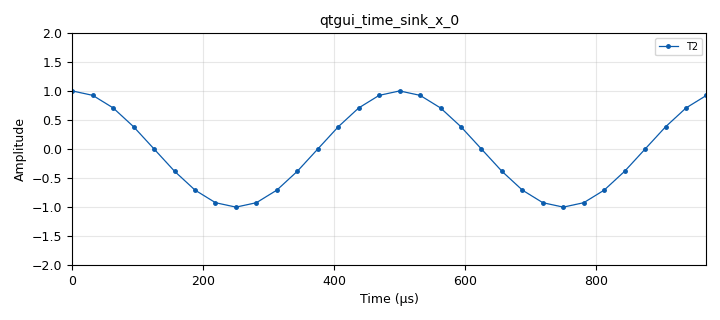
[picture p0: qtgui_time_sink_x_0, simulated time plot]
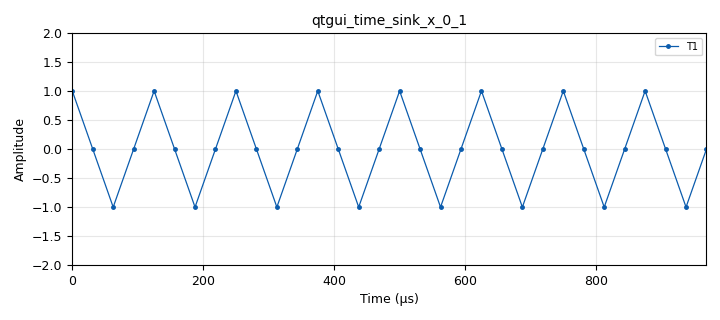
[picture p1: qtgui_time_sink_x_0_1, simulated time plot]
<?xml version='1.0' encoding='utf-8'?>
<?grc format='1' created='3.7.13'?>
<flow_graph>
<block>
<key>options</key>
<param><key>id</key><value>top_block</value></param>
<param><key>generate_options</key><value>qt_gui</value></param>
<param><key>run</key><value>run_stop</value></param>
</block>
<block>
<key>variable_qtgui_range</key>
<param><key>id</key><value>Del</value></param>
<param><key>value</key><value>0</value></param>
<param><key>gui_hint</key><value>0,2,1,1</value></param>
<param><key>label</key><value>Retardo</value></param>
<param><key>orient</key><value>Qt.Horizontal</value></param>
<param><key>start</key><value>0</value></param>
<param><key>step</key><value>1</value></param>
<param><key>stop</key><value>20000</value></param>
<param><key>rangeType</key><value>int</value></param>
</block>
<block>
<key>variable</key>
<param><key>id</key><value>Kd</value></param>
<param><key>value</key><value>12</value></param>
</block>
<block>
<key>variable_qtgui_range</key>
<param><key>id</key><value>Vol</value></param>
<param><key>value</key><value>1.</value></param>
<param><key>gui_hint</key><value>0,1,1,1</value></param>
<param><key>label</key><value>Volumen</value></param>
<param><key>orient</key><value>Qt.Horizontal</value></param>
<param><key>start</key><value>0</value></param>
<param><key>step</key><value>10/100.</value></param>
<param><key>stop</key><value>10.</value></param>
</block>
<block>
<key>variable</key>
<param><key>id</key><value>f</value></param>
<param><key>value</key><value>2000</value></param>
</block>
<block>
<key>variable</key>
<param><key>id</key><value>f_nyq</value></param>
<param><key>value</key><value>f*2</value></param>
</block>
<block>
<key>variable_qtgui_check_box</key>
<param><key>id</key><value>run_stop</value></param>
<param><key>value</key><value>True</value></param>
<param><key>false</key><value>False</value></param>
<param><key>gui_hint</key><value>0,0</value></param>
<param><key>label</key><value>Inicial/Parar</value></param>
<param><key>true</key><value>True</value></param>
<param><key>type</key><value>int</value></param>
</block>
<block>
<key>variable</key>
<param><key>id</key><value>samp_rate</value></param>
<param><key>value</key><value>32000</value></param>
</block>
<block>
<key>variable</key>
<param><key>id</key><value>samp_rate_d</value></param>
<param><key>value</key><value>float(samp_rate)/Kd</value></param>
</block>
<block>
<key>analog_sig_source_x</key>
<param><key>id</key><value>analog_sig_source_x_0</value></param>
<param><key>amp</key><value>1</value></param>
<param><key>freq</key><value>f</value></param>
<param><key>offset</key><value>0</value></param>
<param><key>type</key><value>float</value></param>
<param><key>samp_rate</key><value>samp_rate</value></param>
<param><key>waveform</key><value>analog.GR_COS_WAVE</value></param>
</block>
<block>
<key>b_PSD</key>
<param><key>id</key><value>b_PSD_0</value></param>
<param><key>samp_rate_audio</key><value>float(samp_rate)</value></param>
<param><key>gui_hint</key><value>menu@1:1,0,1,1</value></param>
<param><key>N</key><value>1024</value></param>
<param><key>Ensayos</key><value>1000000</value></param>
<param><key>Titulo</key><value>'T2'</value></param>
<param><key>Ymax</key><value>5e-6</value></param>
</block>
<block>
<key>b_PSD</key>
<param><key>id</key><value>b_PSD_0_0</value></param>
<param><key>samp_rate_audio</key><value>samp_rate_d</value></param>
<param><key>gui_hint</key><value>menu@1:2,0,1,1</value></param>
<param><key>N</key><value>1024</value></param>
<param><key>Ensayos</key><value>1000000</value></param>
<param><key>Titulo</key><value>'T1'</value></param>
<param><key>Ymax</key><value>5e-6</value></param>
</block>
<block>
<key>blocks_delay</key>
<param><key>id</key><value>blocks_delay_0</value></param>
<param><key>delay</key><value>Del</value></param>
<param><key>type</key><value>float</value></param>
</block>
<block>
<key>epy_block</key>
<param><key>id</key><value>epy_block_0_0</value></param>
<param><key>_source_code</key><value>import numpy as np
from gnuradio import gr

class decimator(gr.decim_block):
    """Elimins paso-1 muestras, de manera que solo quedan vigentes las muestras separadas en paso muestras"""
    def __init__(self, paso=2):
        gr.decim_block.__init__(self,
            name="e_diezmad_ff",
            in_sig=[np.float32],
            out_sig=[np.float32], decim=paso)

        # variables externas
	self.paso = paso
	
    def work(self, input_items, output_items):
        # traduccion a algo que podemos manejar mejor
        in0 = input_items[0]
        out0 = output_items[0]
        # Logica principal
	out0[:] = in0[::self.paso]
        return len(output_items[0])

</value></param>
<param><key>paso</key><value>Kd</value></param>
</block>
<block>
<key>qtgui_tab_widget</key>
<param><key>id</key><value>menu</value></param>
<param><key>gui_hint</key><value>1,0,1,3</value></param>
<param><key>label0</key><value>tiempo</value></param>
<param><key>label1</key><value>frecuencia</value></param>
<param><key>num_tabs</key><value>2</value></param>
</block>
<block>
<key>qtgui_time_sink_x</key>
<param><key>id</key><value>qtgui_time_sink_x_0</value></param>
<param><key>gui_hint</key><value>menu@0:2,0,1,2</value></param>
<param><key>color1</key><value>"blue"</value></param>
<param><key>label1</key><value>T2</value></param>
<param><key>marker1</key><value>0</value></param>
<param><key>width1</key><value>3</value></param>
<param><key>size</key><value>1024/32</value></param>
<param><key>srate</key><value>samp_rate</value></param>
<param><key>type</key><value>float</value></param>
<param><key>ymax</key><value>2</value></param>
<param><key>ymin</key><value>-2</value></param>
</block>
<block>
<key>qtgui_time_sink_x</key>
<param><key>id</key><value>qtgui_time_sink_x_0_1</value></param>
<param><key>gui_hint</key><value>menu@0:3,0,1,2</value></param>
<param><key>color1</key><value>"blue"</value></param>
<param><key>label1</key><value>T1</value></param>
<param><key>marker1</key><value>0</value></param>
<param><key>width1</key><value>3</value></param>
<param><key>size</key><value>1024/32</value></param>
<param><key>srate</key><value>samp_rate</value></param>
<param><key>type</key><value>float</value></param>
<param><key>ymax</key><value>2</value></param>
<param><key>ymin</key><value>-2</value></param>
</block>
<block>
<key>virtual_sink</key>
<param><key>id</key><value>virtual_sink_0_1_0_0</value></param>
<param><key>stream_id</key><value>T2</value></param>
</block>
<block>
<key>virtual_sink</key>
<param><key>id</key><value>virtual_sink_0_1_0_0_0</value></param>
<param><key>stream_id</key><value>T1</value></param>
</block>
<block>
<key>virtual_source</key>
<param><key>id</key><value>virtual_source_0</value></param>
<param><key>stream_id</key><value>T2</value></param>
</block>
<block>
<key>virtual_source</key>
<param><key>id</key><value>virtual_source_0_0_0</value></param>
<param><key>stream_id</key><value>T2</value></param>
</block>
<block>
<key>virtual_source</key>
<param><key>id</key><value>virtual_source_0_0_0_0</value></param>
<param><key>stream_id</key><value>T1</value></param>
</block>
<block>
<key>virtual_source</key>
<param><key>id</key><value>virtual_source_0_2</value></param>
<param><key>stream_id</key><value>T1</value></param>
</block>
<connection><source_block_id>analog_sig_source_x_0</source_block_id><sink_block_id>epy_block_0_0</sink_block_id><source_key>0</source_key><sink_key>0</sink_key></connection>
<connection><source_block_id>analog_sig_source_x_0</source_block_id><sink_block_id>virtual_sink_0_1_0_0</sink_block_id><source_key>0</source_key><sink_key>0</sink_key></connection>
<connection><source_block_id>blocks_delay_0</source_block_id><sink_block_id>qtgui_time_sink_x_0</sink_block_id><source_key>0</source_key><sink_key>0</sink_key></connection>
<connection><source_block_id>epy_block_0_0</source_block_id><sink_block_id>virtual_sink_0_1_0_0_0</sink_block_id><source_key>0</source_key><sink_key>0</sink_key></connection>
<connection><source_block_id>virtual_source_0</source_block_id><sink_block_id>blocks_delay_0</sink_block_id><source_key>0</source_key><sink_key>0</sink_key></connection>
<connection><source_block_id>virtual_source_0_0_0</source_block_id><sink_block_id>b_PSD_0</sink_block_id><source_key>0</source_key><sink_key>0</sink_key></connection>
<connection><source_block_id>virtual_source_0_0_0_0</source_block_id><sink_block_id>b_PSD_0_0</sink_block_id><source_key>0</source_key><sink_key>0</sink_key></connection>
<connection><source_block_id>virtual_source_0_2</source_block_id><sink_block_id>qtgui_time_sink_x_0_1</sink_block_id><source_key>0</source_key><sink_key>0</sink_key></connection>
</flow_graph>
